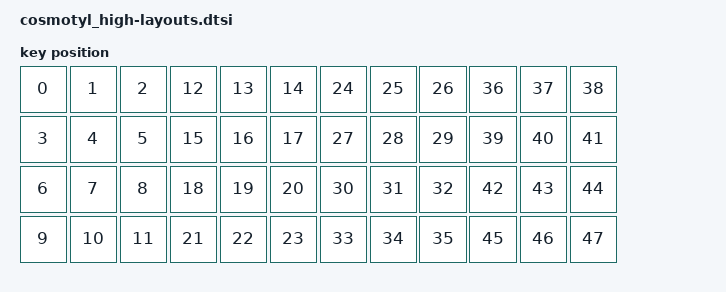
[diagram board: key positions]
// See https://zmk.dev/docs/development/hardware-integration/physical-layouts
// for how to configure this.

#include <physical_layouts.dtsi>

/ {
    default_layout: default_layout {
        compatible = "zmk,physical-layout";
        display-name = "Default Layout";
        transform = <&default_transform>;
        kscan = <&kscan>;

        // Edit this to define the positions and sizes of the keys, or remove it
        // if your keyboard will not support ZMK Studio.
        // https://zmk.dev/docs/development/hardware-integration/physical-layouts#optional-keys-property
        keys  //                     w   h    x    y   rot   rx   ry
            = <&key_physical_attrs 100 100    0    0    0    0    0>   // LKey 1
            , <&key_physical_attrs 100 100  100    0    0    0    0>   // LKey 2
            , <&key_physical_attrs 100 100  200    0    0    0    0>   // LKey 3
            , <&key_physical_attrs 100 100    0  100    0    0    0>   // LKey 4
            , <&key_physical_attrs 100 100  100  100    0    0    0>   // LKey 5
            , <&key_physical_attrs 100 100  200  100    0    0    0>   // LKey 6
            , <&key_physical_attrs 100 100    0  200    0    0    0>   // LKey 7
            , <&key_physical_attrs 100 100  100  200    0    0    0>   // LKey 8
            , <&key_physical_attrs 100 100  200  200    0    0    0>   // LKey 9
            , <&key_physical_attrs 100 100    0  300    0    0    0>   // LKey 10
            , <&key_physical_attrs 100 100  100  300    0    0    0>   // LKey 11
            , <&key_physical_attrs 100 100  200  300    0    0    0>   // LKey 12
            , <&key_physical_attrs 100 100  300    0    0    0    0>   // LKey 13
            , <&key_physical_attrs 100 100  400    0    0    0    0>   // LKey 14
            , <&key_physical_attrs 100 100  500    0    0    0    0>   // LKey 15
            , <&key_physical_attrs 100 100  300  100    0    0    0>   // LKey 16
            , <&key_physical_attrs 100 100  400  100    0    0    0>   // LKey 17
            , <&key_physical_attrs 100 100  500  100    0    0    0>   // LKey 18
            , <&key_physical_attrs 100 100  300  200    0    0    0>   // LKey 19
            , <&key_physical_attrs 100 100  400  200    0    0    0>   // LKey 20
            , <&key_physical_attrs 100 100  500  200    0    0    0>   // LKey 21
            , <&key_physical_attrs 100 100  300  300    0    0    0>   // LKey 22
            , <&key_physical_attrs 100 100  400  300    0    0    0>   // LKey 23
            , <&key_physical_attrs 100 100  500  300    0    0    0>   // LKey 24
            , <&key_physical_attrs 100 100  600    0    0    0    0>   // RKey 1
            , <&key_physical_attrs 100 100  700    0    0    0    0>   // RKey 2
            , <&key_physical_attrs 100 100  800    0    0    0    0>   // RKey 3
            , <&key_physical_attrs 100 100  600  100    0    0    0>   // RKey 4
            , <&key_physical_attrs 100 100  700  100    0    0    0>   // RKey 5
            , <&key_physical_attrs 100 100  800  100    0    0    0>   // RKey 6
            , <&key_physical_attrs 100 100  600  200    0    0    0>   // RKey 7
            , <&key_physical_attrs 100 100  700  200    0    0    0>   // RKey 8
            , <&key_physical_attrs 100 100  800  200    0    0    0>   // RKey 9
            , <&key_physical_attrs 100 100  600  300    0    0    0>   // RKey 10
            , <&key_physical_attrs 100 100  700  300    0    0    0>   // RKey 11
            , <&key_physical_attrs 100 100  800  300    0    0    0>   // RKey 12
            , <&key_physical_attrs 100 100  900    0    0    0    0>   // RKey 13
            , <&key_physical_attrs 100 100 1000    0    0    0    0>   // RKey 14
            , <&key_physical_attrs 100 100 1100    0    0    0    0>   // RKey 15
            , <&key_physical_attrs 100 100  900  100    0    0    0>   // RKey 16
            , <&key_physical_attrs 100 100 1000  100    0    0    0>   // RKey 17
            , <&key_physical_attrs 100 100 1100  100    0    0    0>   // RKey 18
            , <&key_physical_attrs 100 100  900  200    0    0    0>   // RKey 19
            , <&key_physical_attrs 100 100 1000  200    0    0    0>   // RKey 20
            , <&key_physical_attrs 100 100 1100  200    0    0    0>   // RKey 21
            , <&key_physical_attrs 100 100  900  300    0    0    0>   // RKey 22
            , <&key_physical_attrs 100 100 1000  300    0    0    0>   // RKey 23
            , <&key_physical_attrs 100 100 1100  300    0    0    0>   // RKey 24
            ;
    };
};
